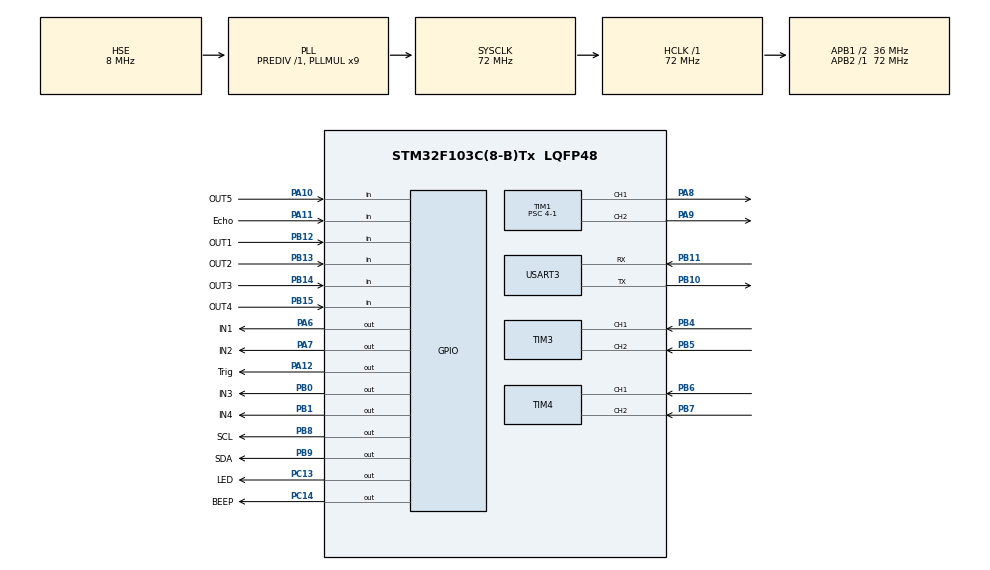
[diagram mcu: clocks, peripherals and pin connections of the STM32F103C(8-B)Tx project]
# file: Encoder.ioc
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Mcu.Family=STM32F1
Mcu.Name=STM32F103C(8-B)Tx
Mcu.Package=LQFP48
NVIC.PriorityGroup=NVIC_PRIORITYGROUP_4
NVIC.TIM2_IRQn=true\:0\:0\:false\:false\:true\:true\:true\:true
PA10.GPIO_Label=OUT5
PA10.Signal=GPIO_Input
PA11.GPIO_Label=Echo
PA11.Signal=GPIO_Input
PA12.GPIO_Label=Trig
PA12.Signal=GPIO_Output
PA13.Mode=Serial_Wire
PA13.Signal=SYS_JTMS-SWDIO
PA14.Mode=Serial_Wire
PA14.Signal=SYS_JTCK-SWCLK
PA6.GPIO_Label=IN1
PA6.PinState=GPIO_PIN_RESET
PA6.Signal=GPIO_Output
PA7.GPIO_Label=IN2
PA7.PinState=GPIO_PIN_SET
PA7.Signal=GPIO_Output
PA8.Signal=S_TIM1_CH1
PA9.Signal=S_TIM1_CH2
PB0.GPIO_Label=IN3
PB0.PinState=GPIO_PIN_SET
PB0.Signal=GPIO_Output
PB1.GPIO_Label=IN4
PB1.Signal=GPIO_Output
PB10.Mode=Asynchronous
PB10.Signal=USART3_TX
PB11.Mode=Asynchronous
PB11.Signal=USART3_RX
PB12.GPIO_Label=OUT1
PB12.Signal=GPIO_Input
PB13.GPIO_Label=OUT2
PB13.Signal=GPIO_Input
PB14.GPIO_Label=OUT3
PB14.Signal=GPIO_Input
PB15.GPIO_Label=OUT4
PB15.Signal=GPIO_Input
PB4.Signal=S_TIM3_CH1
PB5.Signal=S_TIM3_CH2
PB6.Signal=S_TIM4_CH1
PB7.Signal=S_TIM4_CH2
PB8.GPIO_Label=SCL
PB8.GPIO_Speed=GPIO_SPEED_FREQ_LOW
PB8.Signal=GPIO_Output
PB9.GPIO_Label=SDA
PB9.GPIO_Speed=GPIO_SPEED_FREQ_LOW
PB9.Signal=GPIO_Output
PC13-TAMPER-RTC.GPIO_Label=LED
PC13-TAMPER-RTC.Signal=GPIO_Output
PC14-OSC32_IN.GPIO_Label=BEEP
PC14-OSC32_IN.Signal=GPIO_Output
PD0-OSC_IN.Mode=HSE-External-Oscillator
PD0-OSC_IN.Signal=RCC_OSC_IN
PD1-OSC_OUT.Mode=HSE-External-Oscillator
PD1-OSC_OUT.Signal=RCC_OSC_OUT
ProjectManager.HeapSize=0x200
ProjectManager.StackSize=0x600
ProjectManager.TargetToolchain=MDK-ARM V5
RCC.AHBFreq_Value=72000000
RCC.APB1CLKDivider=RCC_HCLK_DIV2
RCC.APB1Freq_Value=36000000
RCC.APB1TimFreq_Value=72000000
RCC.APB2Freq_Value=72000000
RCC.APB2TimFreq_Value=72000000
RCC.HCLKFreq_Value=72000000
RCC.PLLMUL=RCC_PLL_MUL9
RCC.PLLSourceVirtual=RCC_PLLSOURCE_HSE
RCC.SYSCLKFreq_VALUE=72000000
RCC.SYSCLKSource=RCC_SYSCLKSOURCE_PLLCLK
RCC.USBFreq_Value=72000000
SH.S_TIM1_CH1.0=TIM1_CH1,PWM Generation1 CH1
SH.S_TIM1_CH2.0=TIM1_CH2,PWM Generation2 CH2
SH.S_TIM3_CH1.0=TIM3_CH1,Encoder_Interface
SH.S_TIM3_CH2.0=TIM3_CH2,Encoder_Interface
SH.S_TIM4_CH1.0=TIM4_CH1,Encoder_Interface
SH.S_TIM4_CH2.0=TIM4_CH2,Encoder_Interface
TIM1.Channel-PWM\ Generation1\ CH1=TIM_CHANNEL_1
TIM1.Channel-PWM\ Generation2\ CH2=TIM_CHANNEL_2
TIM1.Period=1000-1
TIM1.Prescaler=4-1
TIM2.Period=2000-1
TIM2.Prescaler=720-1
TIM3.AutoReloadPreload=TIM_AUTORELOAD_PRELOAD_ENABLE
TIM3.EncoderMode=TIM_ENCODERMODE_TI12
TIM4.AutoReloadPreload=TIM_AUTORELOAD_PRELOAD_ENABLE
TIM4.EncoderMode=TIM_ENCODERMODE_TI12
USART3.VirtualMode=VM_ASYNC
VP_TIM1_VS_ClockSourceINT.Mode=Internal
VP_TIM2_VS_ClockSourceINT.Mode=Internal
board=custom

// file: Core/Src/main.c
/* USER CODE BEGIN Header */
/**
 ******************************************************************************
 * @file           : main.c
 * @brief          : Car main control program
 ******************************************************************************
 * @attention
 *
 * Copyright (c) 2023 STMicroelectronics.
 * All rights reserved.
 *
 * This software is licensed under terms that can be found in the LICENSE file
 * in the root directory of this software component.
 * If no LICENSE file comes with this software, it is provided AS-IS.
 *
 ******************************************************************************
 */
/* USER CODE END Header */
#include "main.h"
#include "tim.h"
#include "usart.h"
#include "gpio.h"

/* USER CODE BEGIN Includes */
#include "motor.h"
#include "pid.h"
#include "stdio.h"
#include "trail.h"
#include "HC_SR04.h"
#include "oled.h"
/* USER CODE END Includes */

/* USER CODE BEGIN PV */
short encoderPulse[2] = {0};
float leftPWM, rightPWM;
float thisTrailStatus = 0;
float lastTrailStatus = 0;
float Trail_PID_PWM = 0;
int outRight = 0;
int outLeft = 0;
float distance = 100;
int count = 0;
int oledFlag = 0;
int sign = 0;
int signplus = 0;
int countplus = -50;
int direction;

int stage1 = 0;
int stage2 = 0;
int stage3 = 0;
int stage4 = 0;
int stage5 = 0;

int flag = 0;

char distanceStr[20] = {0};
char string1[11] = "distance: ";

PID_InitDefStruct leftMotor_PID;
PID_InitDefStruct rightMotor_PID;
PID_Trail trail;

/* USER CODE END PV */

void SystemClock_Config(void);
/* USER CODE BEGIN PFP */
void trailModule(void);
void recoverSpeed(void);
void beepOn(void);
void beepOff(void);
void stage1and2and3(void);
void stageFour(void);
void stageFive(void);
/* USER CODE END PFP */

int main(void)
{

  /* MCU Configuration--------------------------------------------------------*/

  /* Reset of all peripherals, Initializes the Flash interface and the Systick. */
  HAL_Init();

  /* USER CODE BEGIN Init */
  PID_Init(&leftMotor_PID);
  PID_Init(&rightMotor_PID);
  PID_Trail_Init(&trail);

  // rightMotor_PID.Kp = 25;
  // rightMotor_PID.Ki = 50;
  // rightMotor_PID.Kd = 20;

  /* USER CODE END Init */

  /* Configure the system clock */
  SystemClock_Config();

  /* USER CODE BEGIN SysInit */
  OLED_Init();
  /* USER CODE END SysInit */

  /* Initialize all configured peripherals */
  MX_GPIO_Init();
  MX_TIM1_Init();
  MX_TIM3_Init();
  MX_TIM4_Init();
  MX_TIM2_Init();
  MX_USART3_UART_Init();
  /* USER CODE BEGIN 2 */
  HAL_TIM_Base_Start_IT(&htim2);            // set 20ms interrupt
  HAL_TIM_PWM_Start(&htim1, TIM_CHANNEL_1); // set TIM1_CH1 PWM -- right wheel
  HAL_TIM_PWM_Start(&htim1, TIM_CHANNEL_2); // set TIM1_CH2 PWM -- left wheel
  HAL_TIM_Encoder_Start(&htim3, TIM_CHANNEL_1);
  HAL_TIM_Encoder_Start(&htim3, TIM_CHANNEL_2);
  HAL_TIM_Encoder_Start(&htim4, TIM_CHANNEL_1);
  HAL_TIM_Encoder_Start(&htim4, TIM_CHANNEL_2); // start encoder timer

  __HAL_TIM_ENABLE_IT(&htim3, TIM_IT_UPDATE);
  __HAL_TIM_ENABLE_IT(&htim4, TIM_IT_UPDATE); // start encoder timer to update interrupts and prevent overflow processing

  __HAL_TIM_SET_COUNTER(&htim3, 30000);
  __HAL_TIM_SET_COUNTER(&htim4, 30000); // initialize encoder timing and set it to 3000

  /* USER CODE END 2 */

  /* Infinite loop */
  /* USER CODE BEGIN WHILE */
  while (1)
  {
    if (oledFlag == 0)
    {
      OLED_Init();
      HAL_Delay(20);
      oledFlag = 1;
    }

    sprintf(distanceStr, "%s%.2f", string1, distance);

    OLED_ShowString(0, 0, (uint8_t *)distanceStr, 16, 1);
    HAL_Delay(1);
    OLED_Refresh();

    stage1and2and3();
    stageFour();
		stageFive();
    // MotorControl(0,leftMotor_PID.PWM,rightMotor_PID.PWM);
    /* USER CODE END WHILE */

  }
}

void SystemClock_Config(void)
{
  RCC_OscInitTypeDef RCC_OscInitStruct = {0};
  RCC_ClkInitTypeDef RCC_ClkInitStruct = {0};

  /** Initializes the RCC Oscillators according to the specified parameters
   * in the RCC_OscInitTypeDef structure.
   */
  RCC_OscInitStruct.OscillatorType = RCC_OSCILLATORTYPE_HSE;
  RCC_OscInitStruct.HSEState = RCC_HSE_ON;
  RCC_OscInitStruct.HSEPredivValue = RCC_HSE_PREDIV_DIV1;
  RCC_OscInitStruct.HSIState = RCC_HSI_ON;
  RCC_OscInitStruct.PLL.PLLState = RCC_PLL_ON;
  RCC_OscInitStruct.PLL.PLLSource = RCC_PLLSOURCE_HSE;
  RCC_OscInitStruct.PLL.PLLMUL = RCC_PLL_MUL9;
  if (HAL_RCC_OscConfig(&RCC_OscInitStruct) != HAL_OK)
  {
    Error_Handler();
  }

  /** Initializes the CPU, AHB and APB buses clocks
   */
  RCC_ClkInitStruct.ClockType = RCC_CLOCKTYPE_HCLK | RCC_CLOCKTYPE_SYSCLK | RCC_CLOCKTYPE_PCLK1 | RCC_CLOCKTYPE_PCLK2;
  RCC_ClkInitStruct.SYSCLKSource = RCC_SYSCLKSOURCE_PLLCLK;
  RCC_ClkInitStruct.AHBCLKDivider = RCC_SYSCLK_DIV1;
  RCC_ClkInitStruct.APB1CLKDivider = RCC_HCLK_DIV2;
  RCC_ClkInitStruct.APB2CLKDivider = RCC_HCLK_DIV1;

  if (HAL_RCC_ClockConfig(&RCC_ClkInitStruct, FLASH_LATENCY_2) != HAL_OK)
  {
    Error_Handler();
  }
}

/* USER CODE BEGIN 4 */
// printf redirect

// Encoder speed measurement -------------------------------------------------------------
/**
 * @brief  read the count value(encoder pulse value) of TIM2 and TIM3, TIM3 -- rightWheel, TIM4 -- leftWheel
 * @param  None
 * @retval None
 */
void GetEncoderPulse()
{
  encoderPulse[0] = -((short)__HAL_TIM_GET_COUNTER(&htim3));
  encoderPulse[1] = -((short)__HAL_TIM_GET_COUNTER(&htim4));

  __HAL_TIM_GET_COUNTER(&htim3) = 0;
  __HAL_TIM_GET_COUNTER(&htim4) = 0; // reset pulse count value
}

// interrupt handler
void HAL_TIM_PeriodElapsedCallback(TIM_HandleTypeDef *htim)
{
  float c_leftSpeed, c_rightSpeed;

  if ((htim->Instance == TIM2))
  {
    if ((stage1 == 1 && stage2 == 0 && stage3 == 0) || (stage1 == 0 && stage2 == 1 && stage3 == 0) || stage4 == 1 || stage5 == 1)
    {
      count++;
      GetEncoderPulse();
      c_leftSpeed = CalActualSpeed(encoderPulse[1]); // calculate current speed
      c_rightSpeed = CalActualSpeed(encoderPulse[0]);
      // printf("leftSpeed = %.2f m/s, rightSpeed = %.2f m/s, deltaSpeed = %.2f m/s\n\r", c_leftSpeed, c_rightSpeed, c_leftSpeed-c_rightSpeed);
      printf("%.2f,%.2f,%.3f,%.3f\n\r", c_leftSpeed, c_rightSpeed,(double)leftMotor_PID.PWM/1000,(double)rightMotor_PID.PWM/1000);

      Velocity_PID(leftMotor_PID.targetSpeed, c_leftSpeed, &leftMotor_PID); // calculate the PID parameters for the left motor
      Velocity_PID(rightMotor_PID.targetSpeed, c_rightSpeed, &rightMotor_PID);

      // trailModule();
      // c_leftSpeed_afterPID = CalActualSpeed(encoderPulse[1]);
      // Velocity_PID(c_leftSpeed_afterPID,c_rightSpeed,&rightMotor_PID);  // calculate the PID of the right motor based on the speed of the left motor

      // printf("LeftMotor_PID.pwm_add = %.2f m/s, RightMotor_PID.pwm_add = %.2f m/s\n\r", LeftMotor_PID.pwm_add, RightMotor_PID.pwm_add);

      if (sign == 0 && stage4 == 0)
      {
        trailModule();
        if (distance < 31)
        {
          countplus = -50;
          sign = 1;
        }
      }
      if (sign == 1 && stage4 == 0)
      {
        countplus++;
        if (countplus < 0)
          direction = 2; // stop
        if (countplus < 50 && countplus >= -15)
        {
          direction = 0;
          outLeft = leftMotor_PID.PWM - 180;
          outRight = rightMotor_PID.PWM + 285;
        } // left
        if (countplus < 170 && countplus > 49)
        {
          outLeft = leftMotor_PID.PWM;
          outRight = rightMotor_PID.PWM + 5;
        } // straight
        if (countplus < 195 && countplus > 169)
          direction = 2; // stop

        if ((countplus < 300 && countplus > 194)||(countplus>549&&R1==0&&signplus<50))
        {
          direction = 0;
          outLeft = leftMotor_PID.PWM + 275;
          outRight = rightMotor_PID.PWM - 180;
					if(R2==1)signplus++;
        } // right
        if (countplus<550&&countplus > 299 && R2 == 0 && signplus == 0)
        {
          outLeft = leftMotor_PID.PWM;
          outRight = rightMotor_PID.PWM;
        }
        if ((countplus > 299 && R2 == 1) || signplus > 0)
        {
          signplus++;
          outLeft = leftMotor_PID.PWM - 120;
          outRight = rightMotor_PID.PWM + 185;
          if (signplus > 100||center==1)
          {
            sign = 0;
          }
        }
        MotorControl(direction, outLeft, outRight);
      }

      if (count > 4)
      { // 每100ms计算一次
        count = 0;
        distance = HC_SR04_Read();
        // printf("distance: %.2f cm\r\n", distance);
      }
      if (stage4 == 1 || stage5 == 1)
      {
        MotorControl(0, leftMotor_PID.PWM, rightMotor_PID.PWM);
      }
    }
  }
}

void trailModule()
{
  thisTrailStatus = getTrailStatus();
  Trail_PID(0, thisTrailStatus, &trail);
  Trail_PID_PWM = trail.PWM;
  outRight = rightMotor_PID.PWM - Trail_PID_PWM;
  outLeft = leftMotor_PID.PWM + Trail_PID_PWM;
  if (thisTrailStatus != lastTrailStatus || ((lastTrailStatus == thisTrailStatus) && center == 0))
  {
    MotorControl(0, outLeft, outRight);
    HAL_GPIO_TogglePin(GPIOC, GPIO_PIN_13);
  }
  else
    MotorControl(0, leftMotor_PID.PWM, rightMotor_PID.PWM);
  lastTrailStatus = thisTrailStatus;
}

void beepOn()
{
  HAL_GPIO_WritePin(BEEP_GPIO_Port, BEEP_Pin, GPIO_PIN_SET);
}
void beepOff()
{
  HAL_GPIO_WritePin(BEEP_GPIO_Port, BEEP_Pin, GPIO_PIN_RESET);
}
void stage1and2and3(void)
{
  if (((L2 == 1 && L1 == 1 && center == 1) || (R2 == 1 && R1 == 1 && center == 1) || (L1 == 1 && center == 1 && R1 == 1)) && stage1 == 0 && stage2 == 0 && stage3 == 0)
  {
    MotorControl(2, 0, 0);		// 起始线到暂停点1
    beepOn();
    HAL_Delay(500);
    beepOff();
    HAL_Delay(800);
    beepOn();
    HAL_Delay(500);
    beepOff();
    HAL_Delay(700);
    beepOn();
    HAL_Delay(500);
    beepOff();
    MotorControl(0, 620, 595);
    HAL_Delay(700);
    stage1 = 1;
  }
  else if (((L2 == 1 && L1 == 1 && center == 1) || (R2 == 1 && R1 == 1 && center == 1)) && stage1 == 1 && stage2 == 0 && stage3 == 0 && stage4 == 0)
  {
    stage2 = 1;			// 暂停点1到避障前
    stage1 = 1;
    MotorControl(2, 0, 0);
    HAL_Delay(21000);		// 暂停点1等待30s
    beepOn();
    HAL_Delay(500);
    beepOff();
    HAL_Delay(700);
    beepOn();
    HAL_Delay(500);
    beepOff();
    HAL_Delay(700);
    beepOn();
    HAL_Delay(500);
    beepOff();
    HAL_Delay(5000);
    beepOn();
    HAL_Delay(500);
    beepOff();
    HAL_Delay(700);
    beepOn();
    HAL_Delay(500);
    beepOff();
    HAL_Delay(700);
    beepOn();
    HAL_Delay(500);
    beepOff();
    MotorControl(0, 585, 595);
    HAL_Delay(1000);
    stage1 = 0;
  }
  else if (((L2 == 1 && L1 == 1 && center == 1) || (R2 == 1 && R1 == 1 && center == 1) || (L1 == 1 && center == 1 && R1 == 1)) && stage1 == 0 && stage2 == 1 && stage3 == 0 && stage4 == 0)
  {
    stage3 = 1;									// 避障后到暂停点2
    MotorControl(2, 0, 0);
    HAL_Delay(500);
    beepOn();
    HAL_Delay(500);
    beepOff();
    HAL_Delay(700);
    beepOn();
    HAL_Delay(500);
    beepOff();
    HAL_Delay(700);
    beepOn();
    HAL_Delay(500);
    beepOff();
    stage3 = 2;
  }
}
void stageFour()				// 暂停点2到暂停点3
{
  if (stage1 == 0 && stage2 == 1 && stage3 == 2)
  {
    if (stage4 == 0)
    {
      HAL_Delay(5000);
			stage4 = 1;
      leftMotor_PID.targetSpeed = 0.14;
      rightMotor_PID.targetSpeed = 0.105;
      MotorControl(0, leftMotor_PID.PWM + 50, rightMotor_PID.PWM - 50);
			HAL_Delay(1000);
    }
    if ((R2 == 1 || R1 == 1 || center == 1 || L2 == 1 || L1 == 1) && stage4 == 1)
    {
			stage4 = 2;
      HAL_Delay(550);
      leftMotor_PID.targetSpeed = 0;
      rightMotor_PID.targetSpeed = 0;
      MotorControl(2, 0, 0);
      HAL_Delay(50);
      beepOn();
      HAL_Delay(200);
      beepOff();
      HAL_Delay(500);
      beepOn();
      HAL_Delay(200);
      beepOff();
      HAL_Delay(500);
      beepOn();
      HAL_Delay(200);
      beepOff();
			stage5 = 1;
    }
		else if (stage4 == 1)
		{
			trailModule();
		}
  }
}
void stageFive(void) 				// 暂停点3回到起始线
{
	if (stage1 == 0 && stage2 == 1 && stage3 == 2 && stage5 == 1 && flag == 0 && stage4 == 2)
	{
		leftMotor_PID.targetSpeed = 0;
    rightMotor_PID.targetSpeed = 0;
		HAL_Delay(5000);
		beepOn();
    HAL_Delay(200);
    beepOff();
    HAL_Delay(500);
    beepOn();
    HAL_Delay(200);
    beepOff();
    HAL_Delay(500);
    beepOn();
    HAL_Delay(200);
    beepOff();

		leftMotor_PID.Un = 580;
		rightMotor_PID.Un= 570;
		leftMotor_PID.targetSpeed = 0.14;
		rightMotor_PID.targetSpeed = 0.12;
    // MotorControl(0, leftMotor_PID.PWM + 50, rightMotor_PID.PWM - 50);
		HAL_Delay(500);	// right

		HAL_Delay(6000);

		MotorControl(2,0,0);
		HAL_Delay(200);
		leftMotor_PID.targetSpeed = 0;
		rightMotor_PID.targetSpeed = 0;
		HAL_Delay(500);		// stop

		leftMotor_PID.Un = 600;
		rightMotor_PID.Un= 600;
		leftMotor_PID.targetSpeed = 0.14;
		rightMotor_PID.targetSpeed = 0.145;
		HAL_Delay(8800);	// forward

		leftMotor_PID.targetSpeed = 0;
		rightMotor_PID.targetSpeed = 0;
		MotorControl(2,0,0);
		HAL_Delay(200);		// stop

		leftMotor_PID.targetSpeed = 0.14;
		rightMotor_PID.targetSpeed = 0.0;
		HAL_Delay(1500);	// right

		while (L2 == 0 && L1 == 0 && center == 0 && R1 == 0 && R2 == 0)
		{
			leftMotor_PID.targetSpeed = 0.129;
			rightMotor_PID.targetSpeed = 0.14;
		}

		leftMotor_PID.targetSpeed = 0;
		rightMotor_PID.targetSpeed = 0;
		MotorControl(2,0,0);
		HAL_Delay(500);	//stop

		beepOn();
		HAL_Delay(200);
		beepOff();
		HAL_Delay(500);
		beepOn();
		HAL_Delay(200);
		beepOff();
		HAL_Delay(500);
		beepOn();
		HAL_Delay(200);
		beepOff();

		flag = 1;
	}
}
/* USER CODE END 4 */

void Error_Handler(void)
{
  __disable_irq();
  while (1)
  {
  }
}
